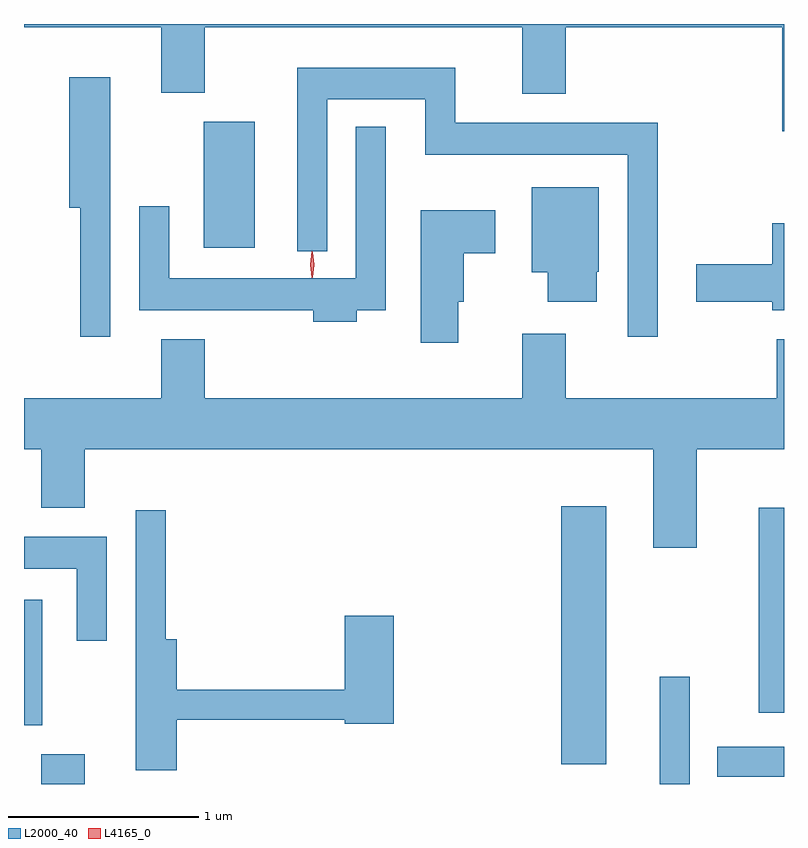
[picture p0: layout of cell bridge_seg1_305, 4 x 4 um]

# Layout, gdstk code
import gdstk
lib = gdstk.Library(unit=1e-6, precision=1e-09)
def R(c, l, rs):  # rectangles x0, y0, x1, y1
    for r in rs: c.add(gdstk.rectangle(r[:2], r[2:], *l))
def P(c, l, *ps):  # polygons
    for p in ps: c.add(gdstk.Polygon(p, *l))
L2000_40 = (2000, 40)
L4165_0 = (4165, 0)

bridge_seg1_305 = lib.new_cell('bridge_seg1_305')
R(bridge_seg1_305, L2000_40, [(841.561,875.613,841.789,875.769), (844.816,875.613,844.974,876.178), (845.118,875.651,845.469,875.809), (844.296,875.716,844.534,877.074), (841.469,875.921,841.564,876.584), (845.336,875.988,845.469,877.068), (842.416,878.436,842.684,879.099)])
P(bridge_seg1_305, L2000_40, [(845.469,879.613),(841.469,879.613),(841.469,879.596),(842.191,879.596),(842.191,879.251),(842.419,879.251),(842.419,879.596),(844.091,879.596),(844.091,879.246),(844.319,879.246),(844.319,879.596),(845.461,879.596),(845.461,879.048),(845.469,879.048)],
  [(844.804,879.094),(843.739,879.094),(843.739,879.384),(842.906,879.384),(842.906,878.418),(843.064,878.418),(843.064,879.216),(843.581,879.216),(843.581,878.926),(844.646,878.926),(844.646,877.968),(844.804,877.968)],
  [(841.924,879.334),(841.706,879.334),(841.706,878.646),(841.766,878.646),(841.766,877.968),(841.924,877.968)],
  [(843.219,878.106),(843.374,878.106),(843.374,879.073),(843.216,879.073),(843.216,878.274),(842.234,878.274),(842.234,878.653),(842.076,878.653),(842.076,878.106),(842.991,878.106),(842.991,878.046),(843.219,878.046)],
  [(844.484,878.31),(844.494,878.31),(844.494,878.754),(844.141,878.754),(844.141,878.306),(844.226,878.306),(844.226,878.151),(844.484,878.151)],
  [(843.754,878.151),(843.784,878.151),(843.784,878.406),(843.949,878.406),(843.949,878.634),(843.556,878.634),(843.556,877.936),(843.754,877.936)],
  [(845.469,878.564),(845.406,878.564),(845.406,878.349),(845.006,878.349),(845.006,878.151),(845.406,878.151),(845.406,878.106),(845.469,878.106)],
  [(845.009,877.376),(845.469,877.376),(845.469,877.954),(845.431,877.954),(845.431,877.644),(844.319,877.644),(844.319,877.984),(844.091,877.984),(844.091,877.644),(842.419,877.644),(842.419,877.954),(842.191,877.954),(842.191,877.644),(841.469,877.644),(841.469,877.376),(841.561,877.376),(841.561,877.066),(841.789,877.066),(841.789,877.376),(844.781,877.376),(844.781,876.856),(845.009,876.856)],
  [(842.274,875.951),(843.156,875.951),(843.156,875.931),(843.414,875.931),(843.414,876.499),(843.156,876.499),(843.156,876.109),(842.274,876.109),(842.274,876.374),(842.214,876.374),(842.214,877.053),(842.056,877.053),(842.056,875.686),(842.274,875.686)],
  [(841.904,876.914),(841.469,876.914),(841.469,876.746),(841.746,876.746),(841.746,876.368),(841.904,876.368)])
P(bridge_seg1_305, L4165_0, [(842.984,878.277),(842.975,878.346),(842.984,878.416),(842.985,878.416),(842.985,878.416),(842.995,878.346),(842.985,878.277),(842.985,878.277)],
  [(842.987,878.279),(842.987,878.28),(842.977,878.346),(842.987,878.412),(842.987,878.413),(842.988,878.412),(842.997,878.346),(842.988,878.28)])

lib.write_gds('bridge_seg1_305.gds')
